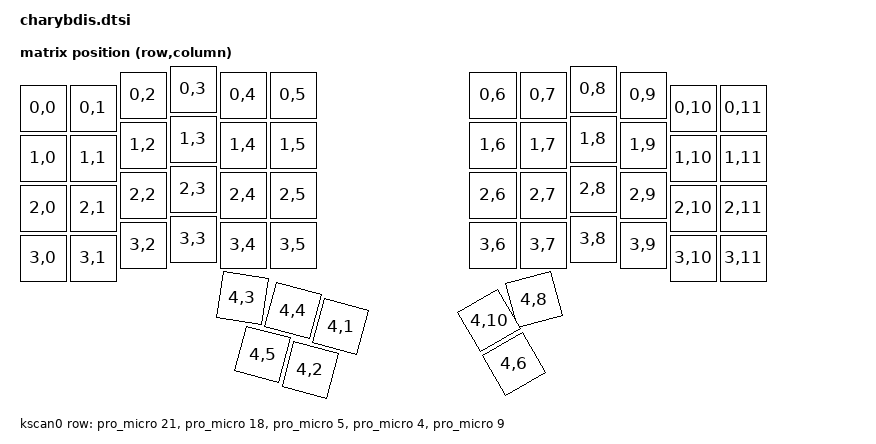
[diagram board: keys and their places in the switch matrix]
#include <dt-bindings/zmk/matrix_transform.h>
#include <dt-bindings/zmk/input_transform.h>
#include <input/processors.dtsi>
#include <physical_layouts.dtsi>
#include "charybdis_layers.h"

/ {
    chosen {
      zmk,kscan = &kscan0;
      zmk,physical-layout = &charybdis_6col_layout;
    };

    vbatt: vbatt {
	    compatible = "zmk,battery-nrf-vddh";
    };

    default_transform: keymap_transform_0 {
      compatible = "zmk,matrix-transform";
      columns = <12>;
      rows = <5>;

      map = <
RC(0,0) RC(0,1) RC(0,2) RC(0,3) RC(0,4) RC(0,5)  RC(0,6) RC(0,7) RC(0,8) RC(0,9) RC(0,10) RC(0,11)
RC(1,0) RC(1,1) RC(1,2) RC(1,3) RC(1,4) RC(1,5)  RC(1,6) RC(1,7) RC(1,8) RC(1,9) RC(1,10) RC(1,11)
RC(2,0) RC(2,1) RC(2,2) RC(2,3) RC(2,4) RC(2,5)  RC(2,6) RC(2,7) RC(2,8) RC(2,9) RC(2,10) RC(2,11)
RC(3,0) RC(3,1) RC(3,2) RC(3,3) RC(3,4) RC(3,5)  RC(3,6) RC(3,7) RC(3,8) RC(3,9) RC(3,10) RC(3,11)
        RC(4,1) RC(4,2) RC(4,3) RC(4,4) RC(4,5)  RC(4,6)         RC(4,8)         RC(4,10)
      >;
    };

    kscan0: kscan {
      compatible = "zmk,kscan-gpio-matrix";
      label = "KSCAN";
      diode-direction = "row2col";
      row-gpios
        = <&pro_micro 21 GPIO_ACTIVE_HIGH>
        , <&pro_micro 18 GPIO_ACTIVE_HIGH>
        , <&pro_micro  5 GPIO_ACTIVE_HIGH>
        , <&pro_micro  4 GPIO_ACTIVE_HIGH>
        , <&pro_micro  9 GPIO_ACTIVE_HIGH>
      ;
    };

    charybdis_6col_layout: charybdis_6col_layout {
        compatible = "zmk,physical-layout";
        display-name = "Charybdis 4x6";

        transform = <&default_transform>;

        keys
            // Left Half - Main Keys
            //                       w   h    x    y     rot    rx    ry
            = <&key_physical_attrs 100 100    0   38       0     0     0>
            , <&key_physical_attrs 100 100  100   38       0     0     0>
            , <&key_physical_attrs 100 100  200   12       0     0     0>
            , <&key_physical_attrs 100 100  300    0       0     0     0>
            , <&key_physical_attrs 100 100  400   12       0     0     0>
            , <&key_physical_attrs 100 100  500   12       0     0     0>
            , <&key_physical_attrs 100 100  900   12       0     0     0>
            , <&key_physical_attrs 100 100 1000   12       0     0     0>
            , <&key_physical_attrs 100 100 1100    0       0     0     0>
            , <&key_physical_attrs 100 100 1200   12       0     0     0>
            , <&key_physical_attrs 100 100 1300   38       0     0     0>
            , <&key_physical_attrs 100 100 1400   38       0     0     0>

            , <&key_physical_attrs 100 100    0  138       0     0     0>
            , <&key_physical_attrs 100 100  100  138       0     0     0>
            , <&key_physical_attrs 100 100  200  112       0     0     0>
            , <&key_physical_attrs 100 100  300  100       0     0     0>
            , <&key_physical_attrs 100 100  400  112       0     0     0>
            , <&key_physical_attrs 100 100  500  112       0     0     0>
            , <&key_physical_attrs 100 100  900  112       0     0     0>
            , <&key_physical_attrs 100 100 1000  112       0     0     0>
            , <&key_physical_attrs 100 100 1100  100       0     0     0>
            , <&key_physical_attrs 100 100 1200  112       0     0     0>
            , <&key_physical_attrs 100 100 1300  138       0     0     0>
            , <&key_physical_attrs 100 100 1400  138       0     0     0>

            , <&key_physical_attrs 100 100    0  238       0     0     0>
            , <&key_physical_attrs 100 100  100  238       0     0     0>
            , <&key_physical_attrs 100 100  200  212       0     0     0>
            , <&key_physical_attrs 100 100  300  200       0     0     0>
            , <&key_physical_attrs 100 100  400  212       0     0     0>
            , <&key_physical_attrs 100 100  500  212       0     0     0>
            , <&key_physical_attrs 100 100  900  212       0     0     0>
            , <&key_physical_attrs 100 100 1000  212       0     0     0>
            , <&key_physical_attrs 100 100 1100  200       0     0     0>
            , <&key_physical_attrs 100 100 1200  212       0     0     0>
            , <&key_physical_attrs 100 100 1300  238       0     0     0>
            , <&key_physical_attrs 100 100 1400  238       0     0     0>

            , <&key_physical_attrs 100 100    0  338       0     0     0>
            , <&key_physical_attrs 100 100  100  338       0     0     0>
            , <&key_physical_attrs 100 100  200  312       0     0     0>
            , <&key_physical_attrs 100 100  300  300       0     0     0>
            , <&key_physical_attrs 100 100  400  312       0     0     0>
            , <&key_physical_attrs 100 100  500  312       0     0     0>
            , <&key_physical_attrs 100 100  900  312       0     0     0>
            , <&key_physical_attrs 100 100 1000  312       0     0     0>
            , <&key_physical_attrs 100 100 1100  300       0     0     0>
            , <&key_physical_attrs 100 100 1200  312       0     0     0>
            , <&key_physical_attrs 100 100 1300  338       0     0     0>
            , <&key_physical_attrs 100 100 1400  338       0     0     0>

            // Thumb Clusters
            // Keys array order matches keymap bindings (positions 48-55)
            // Left thumb bindings: 48=LALT, 49=LOWER, 50=POINTER, 51=gui_ctrlb, 52=LCTRL
            // Right thumb bindings: 53=RET, 54=SYMBOLS, 55=RAISE
            // Physical coordinates per actual key positions from keymap comments
            //                       w   h    x    y     rot    rx    ry
            , <&key_physical_attrs 100 100  518  420    1500   398   790>  // 48 (LALT) - physical: 3rd from left
            , <&key_physical_attrs 100 100  482  520    1500   398   790>  // 49 (LOWER) - physical: 5th from left
            , <&key_physical_attrs 100 100  348  414    900    398   790>  // 50 (POINTER) - physical: 1st from left
            , <&key_physical_attrs 100 100  418  414    1500   398   790>  // 51 (gui_ctrlb) - physical: 2nd from left
            , <&key_physical_attrs 100 100  382  514    1500   398   790>  // 52 (LCTRL) - physical: 4th from left
            , <&key_physical_attrs 100 100 1052  520 (-3000)  1102   790>  // 53 (RET) - physical: 3rd from right (bottom)
            , <&key_physical_attrs 100 100 1067  414 (-1500)  1102   790>  // 54 (SYMBOLS) - physical: 2nd from right (top)
            , <&key_physical_attrs 100 100 1052  420 (-3000)  1102   790>  // 55 (RAISE) - physical: 1st from right (top)
            ;
    };

    charybdis_position_map {
        compatible = "zmk,physical-layout-position-map";

        complete;

        twelve {
            physical-layout = <&charybdis_6col_layout>;
            positions
                = < 0  1  2  3  4  5  6  7  8  9 10 11 >
                , <12 13 14 15 16 17 18 19 20 21 22 23 >
                , <24 25 26 27 28 29 30 31 32 33 34 35 >
                , <36 37 38 39 40 41 42 43 44 45 46 47 >
                , <   48 49 50 51 52 53 54 55          >
                ;
        };
    };
};
